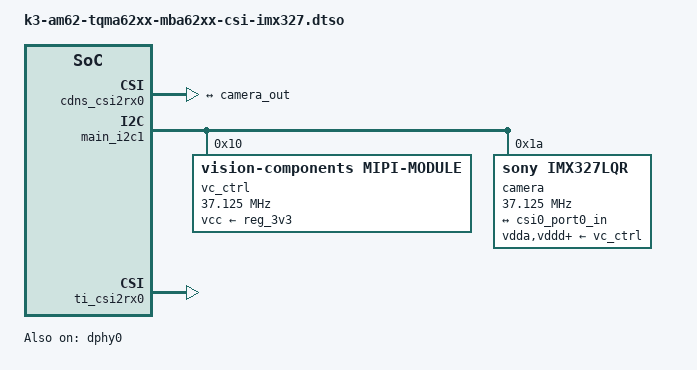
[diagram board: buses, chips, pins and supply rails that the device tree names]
// SPDX-License-Identifier: GPL-2.0-only OR MIT
/*
 * Copyright (c) 2023-2024 TQ-Systems GmbH <linux@ew.tq-group.com>, D-82229 Seefeld, Germany.
 * Author: Matthias Schiffer
 */

#include <dt-bindings/media/video-interfaces.h>

/dts-v1/;
/plugin/;

&cdns_csi2rx0 {
	ports {
		#address-cells = <1>;
		#size-cells = <0>;

		port@0 {
			reg = <0>;
			status = "okay";

			csi0_port0_in: endpoint {
				remote-endpoint = <&camera_out>;
				bus-type = <MEDIA_BUS_TYPE_CSI2_DPHY>;
				clock-lanes = <0>;
				data-lanes = <1 2>;
			};
		};
	};
};

&dphy0 {
	status = "okay";
};

&main_i2c1 {
	#address-cells = <1>;
	#size-cells = <0>;

	vc_ctrl: controller@10 {
		compatible = "vision-components,mipi-module";
		reg = <0x10>;
		#clock-cells = <0>;
		vcc-supply = <&reg_3v3>;
		clock-frequency = <37125000>;
	};

	camera: camera@1a {
		compatible = "sony,imx327lqr";
		reg = <0x1a>;
		clocks = <&vc_ctrl>;
		clock-names = "xclk";
		clock-frequency = <37125000>;
		vdda-supply = <&vc_ctrl>;
		vddd-supply = <&vc_ctrl>;
		vdddo-supply = <&vc_ctrl>;
		orientation = <2>;
		rotation = <0>;

		port {
			camera_out: endpoint {
				remote-endpoint = <&csi0_port0_in>;
				/* Both the AM62 and the IMX327 support up to 4
				 * lanes, but only two are connected in the
				 * adapter provided in the camera kit for the
				 * MBa62xx.
				 */
				data-lanes = <1 2>;
				clock-lanes = <0>;
				clock-noncontinuous;
				link-frequencies = /bits/ 64 <445500000 297000000>;
			};
		};
	};
};

&ti_csi2rx0 {
	status = "okay";
};
